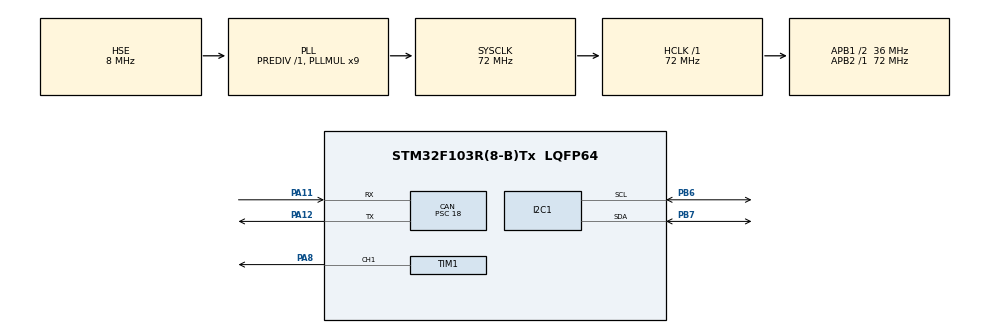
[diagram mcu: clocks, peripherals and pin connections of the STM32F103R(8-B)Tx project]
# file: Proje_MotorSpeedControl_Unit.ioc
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CAN.BS1=CAN_BS1_10TQ
CAN.BS2=CAN_BS2_5TQ
CAN.CalculateTimeBit=8000
CAN.CalculateTimeQuantum=500.0
CAN.Prescaler=18
Mcu.Family=STM32F1
Mcu.Name=STM32F103R(8-B)Tx
Mcu.Package=LQFP64
NVIC.PriorityGroup=NVIC_PRIORITYGROUP_4
NVIC.USB_LP_CAN1_RX0_IRQn=true\:2\:0\:true\:false\:true\:true\:true
PA11.Mode=Master
PA11.Signal=CAN_RX
PA12.Mode=Master
PA12.Signal=CAN_TX
PA8.Signal=S_TIM1_CH1
PB6.Mode=I2C
PB6.Signal=I2C1_SCL
PB7.Mode=I2C
PB7.Signal=I2C1_SDA
PD0-OSC_IN.Mode=HSE-External-Oscillator
PD0-OSC_IN.Signal=RCC_OSC_IN
PD1-OSC_OUT.Mode=HSE-External-Oscillator
PD1-OSC_OUT.Signal=RCC_OSC_OUT
ProjectManager.HeapSize=0x200
ProjectManager.StackSize=0x400
ProjectManager.TargetToolchain=STM32CubeIDE
RCC.ADCPresc=RCC_ADCPCLK2_DIV8
RCC.AHBFreq_Value=72000000
RCC.APB1CLKDivider=RCC_HCLK_DIV2
RCC.APB1Freq_Value=36000000
RCC.APB1TimFreq_Value=72000000
RCC.APB2Freq_Value=72000000
RCC.APB2TimFreq_Value=72000000
RCC.HCLKFreq_Value=72000000
RCC.PLLMUL=RCC_PLL_MUL9
RCC.PLLSourceVirtual=RCC_PLLSOURCE_HSE
RCC.SYSCLKFreq_VALUE=72000000
RCC.SYSCLKSource=RCC_SYSCLKSOURCE_PLLCLK
RCC.USBFreq_Value=72000000
SH.S_TIM1_CH1.0=TIM1_CH1,PWM Generation1 CH1
TIM1.Channel-PWM\ Generation1\ CH1=TIM_CHANNEL_1
TIM1.Period=19999
TIM1.Prescaler=71
VP_SYS_VS_ND.Mode=No_Debug
board=custom

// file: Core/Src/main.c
/* USER CODE BEGIN Header */
/**
  ******************************************************************************
  * @file           : main.c
  * @brief          : Main program body
  ******************************************************************************
  * @attention
  *
  * <h2><center>&copy; Copyright (c) 2020 STMicroelectronics.
  * All rights reserved.</center></h2>
  *
  * This software component is licensed by ST under BSD 3-Clause license,
  * the "License"; You may not use this file except in compliance with the
  * License. You may obtain a copy of the License at:
  *                        opensource.org/licenses/BSD-3-Clause
  *
  ******************************************************************************
  */
/* USER CODE END Header */

#include "main.h"

/* USER CODE BEGIN Includes */
#include "i2c_lcd.h"
#include "StateLed.h"
/* USER CODE END Includes */

CAN_HandleTypeDef hcan;

I2C_HandleTypeDef hi2c1;

TIM_HandleTypeDef htim1;

/* USER CODE BEGIN PV */

// CAN BUS TYPEDEF
CAN_TxHeaderTypeDef pTxHeader;
CAN_RxHeaderTypeDef pRxHeader;
CAN_FilterTypeDef sFilterConfig;

uint32_t mTxMailbox;
uint8_t CanReceiveData[2]={1};
uint8_t CanTransData[2];
// ADC- PWM variables
uint32_t buf[16];

uint32_t pwm_value=0;

/* USER CODE END PV */

void SystemClock_Config(void);
static void MX_GPIO_Init(void);
static void MX_I2C1_Init(void);
static void MX_TIM1_Init(void);
static void MX_CAN_Init(void);

/* USER CODE BEGIN 0 */
/*
void Read_Adc()
{
	HAL_ADC_Start(&hadc1);

	if(HAL_ADC_PollForConversion(&hadc1, 100) == HAL_OK)
		adc_value = HAL_ADC_GetValue(&hadc1);
    HAL_ADC_Stop(&hadc1);

}
*/

// CAN Transmit Configuration
void Init_Tx_Can_Config()
{   // Set Transmit parameters
	  pTxHeader.DLC = 2;
	  pTxHeader.IDE = CAN_ID_STD;
	  pTxHeader.RTR = CAN_RTR_DATA;
	  pTxHeader.StdId = 0x0299; // Id of MotorSpeedControl Message
}

void Init_Filter_Can_Config()
{   // Set Filter Parameters
	sFilterConfig.FilterActivation =ENABLE;
	sFilterConfig.FilterBank = 0;
	sFilterConfig.FilterFIFOAssignment =CAN_FILTER_FIFO0;
	sFilterConfig.FilterIdHigh = 0x0155<<5; // Id of LedControl Message
	sFilterConfig.FilterIdLow = 0x0000;
	sFilterConfig.FilterMaskIdHigh = 0xFFFF;
	sFilterConfig.FilterMaskIdLow = 0x0000;
	sFilterConfig.FilterMode = CAN_FILTERMODE_IDMASK;
	sFilterConfig.FilterScale = CAN_FILTERSCALE_32BIT;
	HAL_CAN_ConfigFilter(&hcan, &sFilterConfig);

}

void MotorServoControl(uint32_t A, uint32_t B,uint8_t speed)
{
    MotorSpeed_t mMotorSpeed;
    // Can Receive Message from  LedControl Unit
    mMotorSpeed.id = CanReceiveData[0];
    if (mMotorSpeed.id != 50) // ServoMotor_id :50
        return -1;
    mMotorSpeed.data = CanReceiveData[1];

    // CAN Transmit Message to MaxMinRangeControl Unit
    CanTransData[0] = mMotorSpeed.id;
    CanTransData[1] = mMotorSpeed.data;
    HAL_CAN_AddTxMessage(&hcan, &pTxHeader, CanTransData, &mTxMailbox);

	switch(mMotorSpeed.data)
	{
		case 0:
		{
			__HAL_TIM_SET_COMPARE(&htim1,TIM_CHANNEL_1,pwm_value);
			break;
		}
		case 1:
		{
			for(pwm_value=A; pwm_value<B; pwm_value++)
			{
				  //Send pwm value
				__HAL_TIM_SET_COMPARE(&htim1,TIM_CHANNEL_1, pwm_value);
				HAL_Delay(5);
			}

			for(pwm_value=B; pwm_value>A; pwm_value--)
			{
				  //Send pwm value
				__HAL_TIM_SET_COMPARE(&htim1,TIM_CHANNEL_1, pwm_value);
				HAL_Delay(5);
			}
			break;
		}
		case 2:
		{
			for(pwm_value=A; pwm_value<B; pwm_value++)
			{
				//Send pwm value
				__HAL_TIM_SET_COMPARE(&htim1,TIM_CHANNEL_1,pwm_value);
				HAL_Delay(0.25);
			}

			for(pwm_value=B; pwm_value>A; pwm_value--)
			{
					//Send pwm value
				 __HAL_TIM_SET_COMPARE(&htim1,TIM_CHANNEL_1,pwm_value);
				HAL_Delay(0.25);
			}
			break;
		}

	}

}
/* USER CODE END 0 */

int main(void)
{

  /* MCU Configuration--------------------------------------------------------*/

  /* Reset of all peripherals, Initializes the Flash interface and the Systick. */
  HAL_Init();

  /* Configure the system clock */
  SystemClock_Config();

  /* Initialize all configured peripherals */
  MX_GPIO_Init();
  MX_I2C1_Init();
  MX_TIM1_Init();
  MX_CAN_Init();
  /* USER CODE BEGIN 2 */

  //Start PWM Genaration for Timer1
  HAL_TIM_PWM_Start(&htim1, TIM_CHANNEL_1);

  // Initialize CAN Interrupts
  HAL_CAN_ActivateNotification(&hcan, CAN_IT_RX_FIFO0_MSG_PENDING);

  // Initialize CAN Config
  Init_Tx_Can_Config();
  Init_Filter_Can_Config();

  // Start CAN Comminications
  HAL_CAN_Start(&hcan);

  // Print LCD Config
  lcd_init();
  HAL_Delay(10);
  lcd_clear();
  lcd_put_cur(0, 0);
  lcd_send_string("MotorSpeedControl");
  HAL_Delay(1000);

  /* USER CODE END 2 */

  /* Infinite loop */
  while (1)
  {

    /* USER CODE BEGIN 3 */

      // Convert adc_value between 500 and 2500 pwm values
	  MotorServoControl(500,2500,1);

  }
  /* USER CODE END 3 */
}

void SystemClock_Config(void)
{
  RCC_OscInitTypeDef RCC_OscInitStruct = {0};
  RCC_ClkInitTypeDef RCC_ClkInitStruct = {0};

  /** Initializes the CPU, AHB and APB busses clocks
  */
  RCC_OscInitStruct.OscillatorType = RCC_OSCILLATORTYPE_HSE;
  RCC_OscInitStruct.HSEState = RCC_HSE_ON;
  RCC_OscInitStruct.HSEPredivValue = RCC_HSE_PREDIV_DIV1;
  RCC_OscInitStruct.HSIState = RCC_HSI_ON;
  RCC_OscInitStruct.PLL.PLLState = RCC_PLL_ON;
  RCC_OscInitStruct.PLL.PLLSource = RCC_PLLSOURCE_HSE;
  RCC_OscInitStruct.PLL.PLLMUL = RCC_PLL_MUL9;
  if (HAL_RCC_OscConfig(&RCC_OscInitStruct) != HAL_OK)
  {
    Error_Handler();
  }
  /** Initializes the CPU, AHB and APB busses clocks
  */
  RCC_ClkInitStruct.ClockType = RCC_CLOCKTYPE_HCLK|RCC_CLOCKTYPE_SYSCLK
                              |RCC_CLOCKTYPE_PCLK1|RCC_CLOCKTYPE_PCLK2;
  RCC_ClkInitStruct.SYSCLKSource = RCC_SYSCLKSOURCE_PLLCLK;
  RCC_ClkInitStruct.AHBCLKDivider = RCC_SYSCLK_DIV1;
  RCC_ClkInitStruct.APB1CLKDivider = RCC_HCLK_DIV2;
  RCC_ClkInitStruct.APB2CLKDivider = RCC_HCLK_DIV1;

  if (HAL_RCC_ClockConfig(&RCC_ClkInitStruct, FLASH_LATENCY_2) != HAL_OK)
  {
    Error_Handler();
  }
}

static void MX_CAN_Init(void)
{

  hcan.Instance = CAN1;
  hcan.Init.Prescaler = 18;
  hcan.Init.Mode = CAN_MODE_NORMAL;
  hcan.Init.SyncJumpWidth = CAN_SJW_1TQ;
  hcan.Init.TimeSeg1 = CAN_BS1_10TQ;
  hcan.Init.TimeSeg2 = CAN_BS2_5TQ;
  hcan.Init.TimeTriggeredMode = DISABLE;
  hcan.Init.AutoBusOff = DISABLE;
  hcan.Init.AutoWakeUp = DISABLE;
  hcan.Init.AutoRetransmission = DISABLE;
  hcan.Init.ReceiveFifoLocked = DISABLE;
  hcan.Init.TransmitFifoPriority = DISABLE;
  if (HAL_CAN_Init(&hcan) != HAL_OK)
  {
    Error_Handler();
  }

}

static void MX_I2C1_Init(void)
{

  hi2c1.Instance = I2C1;
  hi2c1.Init.ClockSpeed = 100000;
  hi2c1.Init.DutyCycle = I2C_DUTYCYCLE_2;
  hi2c1.Init.OwnAddress1 = 0;
  hi2c1.Init.AddressingMode = I2C_ADDRESSINGMODE_7BIT;
  hi2c1.Init.DualAddressMode = I2C_DUALADDRESS_DISABLE;
  hi2c1.Init.OwnAddress2 = 0;
  hi2c1.Init.GeneralCallMode = I2C_GENERALCALL_DISABLE;
  hi2c1.Init.NoStretchMode = I2C_NOSTRETCH_DISABLE;
  if (HAL_I2C_Init(&hi2c1) != HAL_OK)
  {
    Error_Handler();
  }

}

static void MX_TIM1_Init(void)
{

  TIM_MasterConfigTypeDef sMasterConfig = {0};
  TIM_OC_InitTypeDef sConfigOC = {0};
  TIM_BreakDeadTimeConfigTypeDef sBreakDeadTimeConfig = {0};

  htim1.Instance = TIM1;
  htim1.Init.Prescaler = 71;
  htim1.Init.CounterMode = TIM_COUNTERMODE_UP;
  htim1.Init.Period = 19999;
  htim1.Init.ClockDivision = TIM_CLOCKDIVISION_DIV1;
  htim1.Init.RepetitionCounter = 0;
  htim1.Init.AutoReloadPreload = TIM_AUTORELOAD_PRELOAD_DISABLE;
  if (HAL_TIM_PWM_Init(&htim1) != HAL_OK)
  {
    Error_Handler();
  }
  sMasterConfig.MasterOutputTrigger = TIM_TRGO_RESET;
  sMasterConfig.MasterSlaveMode = TIM_MASTERSLAVEMODE_DISABLE;
  if (HAL_TIMEx_MasterConfigSynchronization(&htim1, &sMasterConfig) != HAL_OK)
  {
    Error_Handler();
  }
  sConfigOC.OCMode = TIM_OCMODE_PWM1;
  sConfigOC.Pulse = 0;
  sConfigOC.OCPolarity = TIM_OCPOLARITY_HIGH;
  sConfigOC.OCNPolarity = TIM_OCNPOLARITY_HIGH;
  sConfigOC.OCFastMode = TIM_OCFAST_DISABLE;
  sConfigOC.OCIdleState = TIM_OCIDLESTATE_RESET;
  sConfigOC.OCNIdleState = TIM_OCNIDLESTATE_RESET;
  if (HAL_TIM_PWM_ConfigChannel(&htim1, &sConfigOC, TIM_CHANNEL_1) != HAL_OK)
  {
    Error_Handler();
  }
  sBreakDeadTimeConfig.OffStateRunMode = TIM_OSSR_DISABLE;
  sBreakDeadTimeConfig.OffStateIDLEMode = TIM_OSSI_DISABLE;
  sBreakDeadTimeConfig.LockLevel = TIM_LOCKLEVEL_OFF;
  sBreakDeadTimeConfig.DeadTime = 0;
  sBreakDeadTimeConfig.BreakState = TIM_BREAK_DISABLE;
  sBreakDeadTimeConfig.BreakPolarity = TIM_BREAKPOLARITY_HIGH;
  sBreakDeadTimeConfig.AutomaticOutput = TIM_AUTOMATICOUTPUT_DISABLE;
  if (HAL_TIMEx_ConfigBreakDeadTime(&htim1, &sBreakDeadTimeConfig) != HAL_OK)
  {
    Error_Handler();
  }
  HAL_TIM_MspPostInit(&htim1);

}

static void MX_GPIO_Init(void)
{

  /* GPIO Ports Clock Enable */
  __HAL_RCC_GPIOD_CLK_ENABLE();
  __HAL_RCC_GPIOA_CLK_ENABLE();
  __HAL_RCC_GPIOB_CLK_ENABLE();

}

void Error_Handler(void)
{
}

/************************ (C) COPYRIGHT STMicroelectronics *****END OF FILE****/
